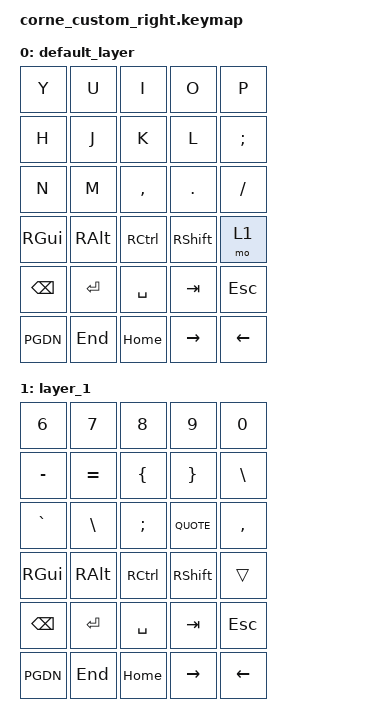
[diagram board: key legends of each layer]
/*
 * Copyright (c) 2024 The ZMK Contributors
 *
 * SPDX-License-Identifier: MIT
 */

#include <behaviors.dtsi>
#include <dt-bindings/zmk/keys.h>

/ {
    keymap {
        compatible = "zmk,keymap";

        default_layer {
            bindings = <
                // Row 0
                &kp Y         &kp U         &kp I         &kp O         &kp P
                // Row 1
                &kp H         &kp J         &kp K         &kp L         &kp SEMI
                // Row 2
                &kp N         &kp M         &kp COMMA     &kp DOT       &kp FSLH
                // Row 3
                &kp RGUI      &kp RALT      &kp RCTRL     &kp RSHFT     &mo 1
                // Row 4
                &kp BKSP      &kp ENTER     &kp SPACE    &kp TAB       &kp ESC
                // Row 5
                &kp PGDN      &kp END       &kp HOME     &kp RIGHT     &kp LEFT
            >;
        };

        layer_1 {
            bindings = <
                // Row 0
                &kp N6        &kp N7        &kp N8        &kp N9        &kp N0
                // Row 1
                &kp MINUS     &kp EQUAL     &kp LBRC      &kp RBRC      &kp BSLH
                // Row 2
                &kp GRAVE     &kp BSLH      &kp SEMI      &kp QUOTE     &kp COMMA
                // Row 3
                &kp RGUI      &kp RALT      &kp RCTRL     &kp RSHFT     &trans
                // Row 4
                &kp BKSP      &kp ENTER     &kp SPACE    &kp TAB       &kp ESC
                // Row 5
                &kp PGDN      &kp END       &kp HOME     &kp RIGHT     &kp LEFT
            >;
        };
    };
};
